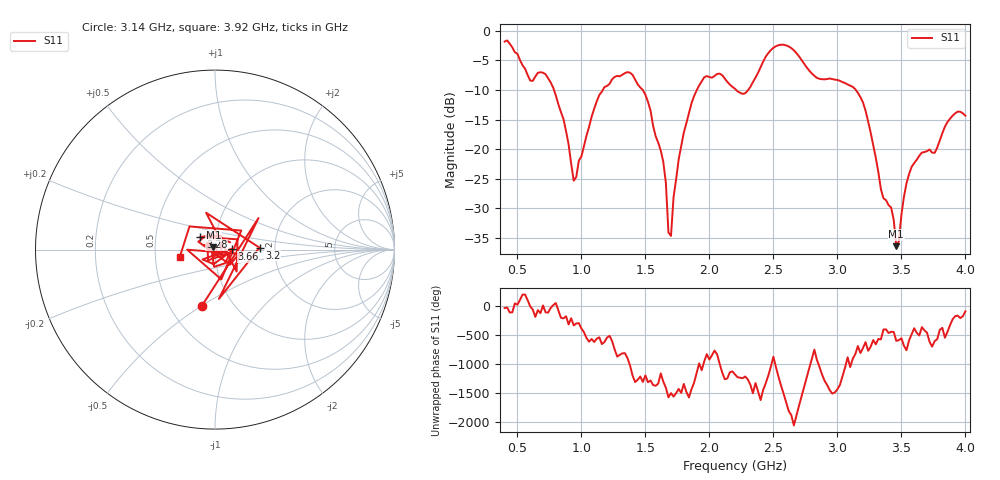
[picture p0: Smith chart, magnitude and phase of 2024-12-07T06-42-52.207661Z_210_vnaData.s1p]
!Created with skrf (http://scikit-rf.org).
# Hz S RI R 50.0
!freq ReS11 ImS11
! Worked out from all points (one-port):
!   181 points, 400 MHz to 4 GHz, reference 50 ohm
!   lowest |S11| = -36.4 dB at 3.46 GHz (marker M1), VSWR 1.03, Z = 49.1 + j1.22 ohm
!   |S11| at or under -10 dB: 785.9 MHz to 1.167 GHz (381.1 MHz wide, 39 % of centre); 1.48 GHz to 1.902 GHz (421.3 MHz wide, 24.9 % of centre); 3.144 GHz to end of sweep (the widest 3 of 4)
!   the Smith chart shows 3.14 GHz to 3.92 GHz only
!   S11 on the Smith chart (normalised r, x): 3.14 GHz: 0.72, -0.50; 3.2 GHz: 1.66, +0.04; 3.28 GHz: 0.84, +0.12; 3.66 GHz: 1.21, +0.01; 3.92 GHz: 0.67, -0.06
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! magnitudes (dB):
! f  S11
! 400 MHz  -1.8
! 600 MHz  -8.4
! 720 MHz  -7.3
! 860 MHz  -14.9
! 940 MHz  -25.3
! 1.14 GHz  -10.8
! 1.3 GHz  -7.7
! 1.52 GHz  -12.0
! 1.64 GHz  -22.2
! 1.68 GHz  -34.1
! 1.7 GHz  -34.7
! 1.76 GHz  -21.7
! 1.96 GHz  -7.8
! 2.2 GHz  -9.8
! 2.28 GHz  -10.5
! 2.5 GHz  -2.9
! 2.66 GHz  -3.3
! 3.1 GHz  -9.3
! 3.14 GHz  -9.9
! 3.2 GHz  -12.1
! 3.28 GHz  -19.3
! 3.36 GHz  -28.3
! 3.42 GHz  -29.9
! 3.46 GHz  -36.4
! 3.56 GHz  -24.2
! 3.66 GHz  -20.6
! 3.92 GHz  -13.9
! 4 GHz  -14.3
